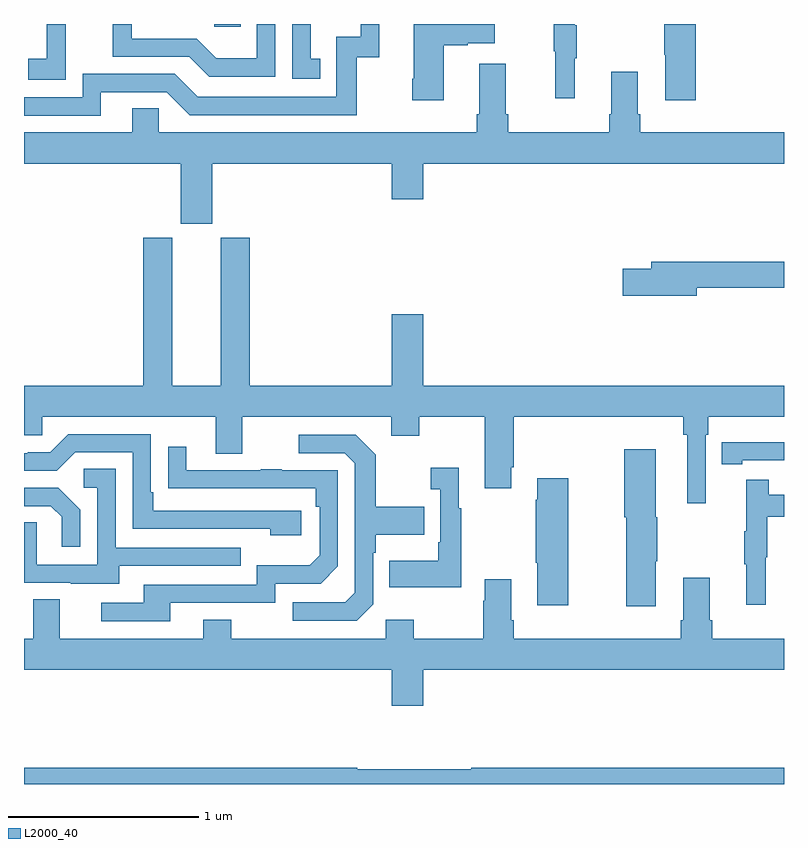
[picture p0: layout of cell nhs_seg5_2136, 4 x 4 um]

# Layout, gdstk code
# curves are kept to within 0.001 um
import gdstk
lib = gdstk.Library(unit=1e-6, precision=1e-09)
def R(c, l, rs):  # rectangles x0, y0, x1, y1
    for r in rs: c.add(gdstk.rectangle(r[:2], r[2:], *l))
def P(c, l, *ps):  # polygons
    for p in ps: c.add(gdstk.Polygon(p, *l))
L2000_40 = (2000, 40)

nhs_seg5_2136 = lib.new_cell('nhs_seg5_2136')
R(nhs_seg5_2136, L2000_40, [(236.001,886.785,236.141,886.799)])
P(nhs_seg5_2136, L2000_40, [(235.221,886.711),(235.22,886.711),(235.22,886.799),(235.121,886.799),(235.121,886.615),(235.023,886.615),(235.023,886.505),(235.221,886.505)],
  [(238.535,886.799),(238.369,886.799),(238.369,886.636),(238.376,886.636),(238.376,886.398),(238.535,886.398)],
  [(237.208,886.687),(237.335,886.687),(237.335,886.697),(237.478,886.697),(237.478,886.799),(237.05,886.799),(237.05,886.51),(237.043,886.51),(237.043,886.398),(237.208,886.398)],
  [(236.558,886.617),(236.509,886.617),(236.509,886.799),(236.412,886.799),(236.412,886.512),(236.558,886.512)],
  [(236.322,886.799),(236.226,886.799),(236.226,886.618),(236.012,886.618),(235.908,886.722),(235.566,886.722),(235.566,886.799),(235.468,886.799),(235.468,886.626),(235.871,886.626),(235.976,886.521),(236.322,886.521)],
  [(235.405,886.44),(235.752,886.44),(235.872,886.32),(236.752,886.32),(236.752,886.623),(236.87,886.623),(236.87,886.799),(236.772,886.799),(236.772,886.731),(236.643,886.731),(236.643,886.416),(235.914,886.416),(235.794,886.536),(235.308,886.536),(235.308,886.413),(235,886.413),(235,886.317),(235.405,886.317)],
  [(237.899,886.619),(237.91,886.619),(237.91,886.793),(237.899,886.793),(237.899,886.799),(237.789,886.799),(237.789,886.656),(237.796,886.656),(237.796,886.407),(237.899,886.407)],
  [(235.99,886.064),(236.936,886.064),(236.936,885.876),(237.1,885.876),(237.1,886.064),(239,886.064),(239,886.228),(238.244,886.228),(238.244,886.324),(238.231,886.324),(238.231,886.549),(238.091,886.549),(238.091,886.324),(238.079,886.324),(238.079,886.228),(237.548,886.228),(237.548,886.324),(237.535,886.324),(237.535,886.591),(237.395,886.591),(237.395,886.324),(237.383,886.324),(237.383,886.228),(235.71,886.228),(235.71,886.355),(235.571,886.355),(235.571,886.228),(235,886.228),(235,886.064),(235.826,886.064),(235.826,885.747),(235.99,885.747)],
  [(238.587,884.636),(238.601,884.636),(238.601,884.732),(239,884.732),(239,884.896),(237.1,884.896),(237.1,885.271),(236.936,885.271),(236.936,884.896),(236.189,884.896),(236.189,885.675),(236.036,885.675),(236.036,884.896),(235.78,884.896),(235.78,885.675),(235.628,885.675),(235.628,884.896),(235,884.896),(235,884.634),(235.095,884.634),(235.095,884.732),(236.009,884.732),(236.009,884.538),(236.149,884.538),(236.149,884.732),(236.933,884.732),(236.933,884.633),(237.081,884.633),(237.081,884.732),(237.425,884.732),(237.425,884.355),(237.565,884.355),(237.565,884.467),(237.578,884.467),(237.578,884.732),(238.471,884.732),(238.471,884.636),(238.49,884.636),(238.49,884.277),(238.587,884.277)],
  [(238.54,885.412),(239,885.412),(239,885.548),(238.301,885.548),(238.301,885.512),(238.152,885.512),(238.152,885.37),(238.54,885.37)],
  [(236.458,884.238),(235.681,884.238),(235.681,884.335),(235.668,884.335),(235.668,884.64),(235.233,884.64),(235.137,884.544),(235.019,884.544),(235.019,884.541),(235,884.541),(235,884.448),(235.173,884.448),(235.269,884.544),(235.572,884.544),(235.572,884.142),(236.297,884.142),(236.297,884.108),(236.458,884.108)],
  [(236.838,883.746),(236.838,884.015),(236.851,884.015),(236.851,884.111),(237.107,884.111),(237.107,884.259),(236.851,884.259),(236.851,884.531),(236.745,884.637),(236.445,884.637),(236.445,884.541),(236.688,884.541),(236.742,884.487),(236.742,883.806),(236.691,883.755),(236.415,883.755),(236.415,883.659),(236.751,883.659)],
  [(238.78,884.502),(239,884.502),(239,884.599),(238.78,884.599),(238.78,884.598),(238.672,884.598),(238.672,884.482),(238.78,884.482)],
  [(235.771,883.752),(236.322,883.752),(236.322,883.854),(236.562,883.854),(236.652,883.944),(236.652,884.451),(236.357,884.451),(236.357,884.456),(236.245,884.456),(236.245,884.451),(235.855,884.451),(235.855,884.575),(235.759,884.575),(235.759,884.356),(236.536,884.355),(236.536,884.258),(236.556,884.258),(236.556,884.004),(236.503,883.951),(236.226,883.951),(236.226,883.848),(235.631,883.848),(235.631,883.752),(235.407,883.752),(235.407,883.656),(235.771,883.656)],
  [(238.324,883.972),(238.332,883.972),(238.332,884.202),(238.324,884.202),(238.324,884.56),(238.16,884.56),(238.16,884.202),(238.171,884.202),(238.171,883.734),(238.324,883.734)],
  [(237.301,884.251),(237.289,884.251),(237.289,884.464),(237.141,884.464),(237.141,884.351),(237.192,884.351),(237.192,884.071),(237.18,884.071),(237.18,883.975),(236.923,883.975),(236.923,883.835),(237.301,883.835)],
  [(235.501,883.947),(236.141,883.947),(236.141,884.043),(235.482,884.043),(235.482,884.459),(235.314,884.459),(235.314,884.358),(235.386,884.358),(235.386,883.953),(235.068,883.953),(235.068,884.177),(235,884.177),(235,883.857),(235.247,883.857),(235.247,883.853),(235.501,883.853)],
  [(237.864,884.407),(237.701,884.407),(237.701,884.294),(237.694,884.294),(237.694,883.963),(237.701,883.963),(237.701,883.74),(237.864,883.74)],
  [(238.904,883.992),(238.912,883.992),(238.912,884.206),(239,884.206),(239,884.322),(238.919,884.322),(238.919,884.401),(238.802,884.401),(238.802,884.129),(238.791,884.129),(238.791,883.955),(238.802,883.955),(238.802,883.743),(238.904,883.743)],
  [(235.296,884.242),(235.18,884.358),(235,884.358),(235,884.262),(235.142,884.262),(235.199,884.205),(235.199,884.049),(235.296,884.049)],
  [(237.1,883.4),(239,883.4),(239,883.564),(238.622,883.564),(238.622,883.66),(238.609,883.66),(238.609,883.885),(238.469,883.885),(238.469,883.66),(238.457,883.66),(238.457,883.564),(237.578,883.564),(237.578,883.66),(237.565,883.66),(237.565,883.876),(237.425,883.876),(237.425,883.763),(237.418,883.763),(237.418,883.564),(237.051,883.564),(237.051,883.663),(236.904,883.663),(236.904,883.564),(236.091,883.564),(236.091,883.663),(235.943,883.663),(235.943,883.564),(235.189,883.564),(235.189,883.772),(235.049,883.772),(235.049,883.564),(235,883.564),(235,883.4),(236.936,883.4),(236.936,883.212),(237.1,883.212)],
  [(239,882.884),(237.353,882.884),(237.353,882.877),(236.753,882.877),(236.753,882.884),(235,882.884),(235,882.799),(239,882.799)])

lib.write_gds('nhs_seg5_2136.gds')
